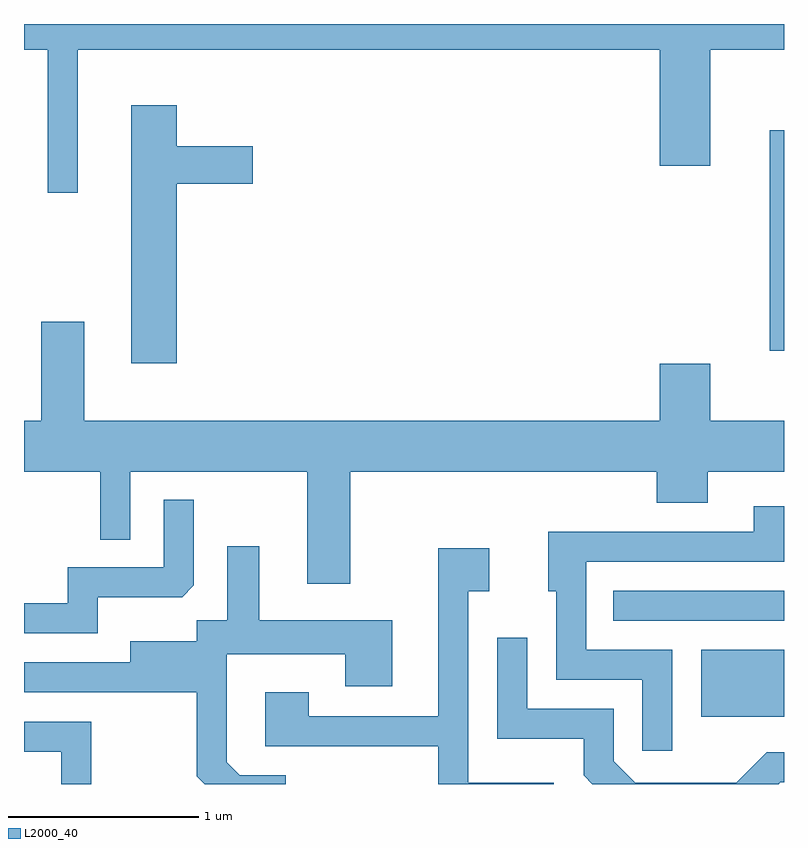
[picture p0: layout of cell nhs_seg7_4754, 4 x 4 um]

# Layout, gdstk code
import gdstk
lib = gdstk.Library(unit=1e-6, precision=1e-09)
def R(c, l, rs):  # rectangles x0, y0, x1, y1
    for r in rs: c.add(gdstk.rectangle(r[:2], r[2:], *l))
def P(c, l, *ps):  # polygons
    for p in ps: c.add(gdstk.Polygon(p, *l))
L2000_40 = (2000, 40)

nhs_seg7_4754 = lib.new_cell('nhs_seg7_4754')
R(nhs_seg7_4754, L2000_40, [(335.176,1688.606,335.611,1688.959), (334.713,1689.111,335.611,1689.269), (335.536,1690.531,335.611,1691.694)])
P(nhs_seg7_4754, L2000_40, [(331.894,1692.116),(334.956,1692.116),(334.956,1691.506),(335.224,1691.506),(335.224,1692.116),(335.611,1692.116),(335.611,1692.252),(331.611,1692.252),(331.611,1692.116),(331.736,1692.116),(331.736,1691.363),(331.894,1691.363)],
  [(332.414,1691.411),(332.814,1691.411),(332.814,1691.609),(332.414,1691.609),(332.414,1691.824),(332.176,1691.824),(332.176,1690.466),(332.414,1690.466)],
  [(333.329,1689.896),(334.941,1689.896),(334.941,1689.731),(335.209,1689.731),(335.209,1689.896),(335.611,1689.896),(335.611,1690.164),(335.224,1690.164),(335.224,1690.464),(334.956,1690.464),(334.956,1690.164),(331.929,1690.164),(331.929,1690.684),(331.701,1690.684),(331.701,1690.164),(331.611,1690.164),(331.611,1689.896),(332.011,1689.896),(332.011,1689.538),(332.169,1689.538),(332.169,1689.896),(333.101,1689.896),(333.101,1689.306),(333.329,1689.306)],
  [(331.999,1689.236),(332.444,1689.236),(332.504,1689.297),(332.504,1689.748),(332.346,1689.748),(332.346,1689.394),(331.841,1689.394),(331.841,1689.204),(331.611,1689.204),(331.611,1689.046),(331.999,1689.046)],
  [(335.024,1688.959),(334.569,1688.959),(334.569,1689.421),(335.611,1689.421),(335.611,1689.714),(335.451,1689.714),(335.451,1689.579),(334.371,1689.579),(334.371,1689.266),(334.411,1689.266),(334.411,1688.801),(334.866,1688.801),(334.866,1688.428),(335.024,1688.428)],
  [(332.988,1688.299),(332.747,1688.299),(332.679,1688.367),(332.679,1688.936),(333.301,1688.936),(333.301,1688.766),(333.549,1688.766),(333.549,1689.114),(332.849,1689.114),(332.849,1689.503),(332.681,1689.503),(332.681,1689.114),(332.521,1689.114),(332.521,1689.004),(332.171,1689.004),(332.171,1688.894),(331.611,1688.894),(331.611,1688.736),(332.521,1688.736),(332.521,1688.294),(332.563,1688.252),(332.988,1688.252)],
  [(334.398,1688.259),(333.949,1688.259),(333.949,1689.266),(334.059,1689.266),(334.059,1689.494),(333.791,1689.494),(333.791,1688.609),(333.109,1688.609),(333.109,1688.734),(332.881,1688.734),(332.881,1688.451),(333.791,1688.451),(333.791,1688.252),(334.398,1688.252)],
  [(335.592,1688.261),(335.611,1688.261),(335.611,1688.419),(335.519,1688.419),(335.359,1688.259),(334.827,1688.259),(334.714,1688.372),(334.714,1688.649),(334.259,1688.649),(334.259,1689.023),(334.101,1689.023),(334.101,1688.491),(334.556,1688.491),(334.556,1688.299),(334.603,1688.252),(335.583,1688.252)],
  [(331.964,1688.579),(331.611,1688.579),(331.611,1688.421),(331.806,1688.421),(331.806,1688.252),(331.964,1688.252)])

lib.write_gds('nhs_seg7_4754.gds')
